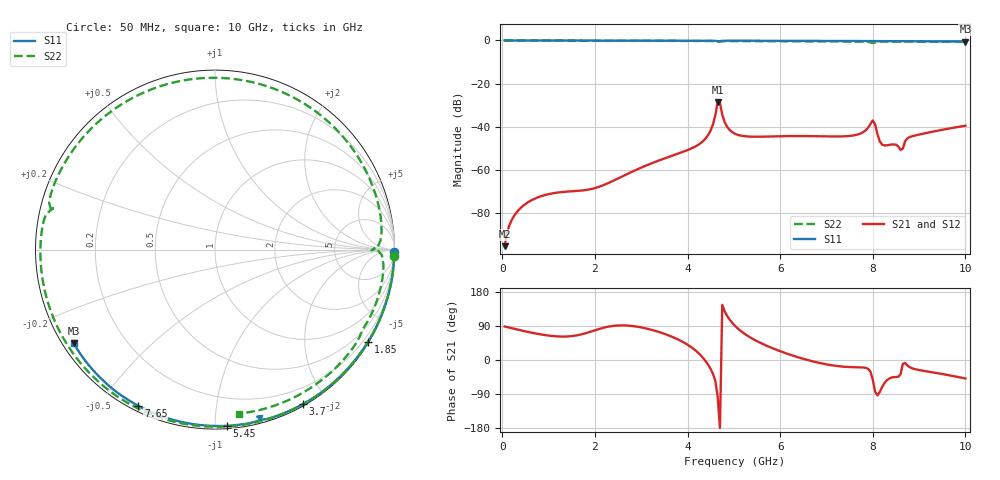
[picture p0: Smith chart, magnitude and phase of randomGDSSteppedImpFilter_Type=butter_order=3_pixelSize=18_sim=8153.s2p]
! freq	dB(S11)	phase(S11)	dB(S12)	phase(S12)
!  dB(S21)	phase(S21)	dB(S22)	phase(S22)
!S-par simulation data
#  GHz  S  DB  R 50
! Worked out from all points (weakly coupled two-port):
!   200 points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, 50 MHz to 10 GHz, reference 50 ohm
!   highest |S21| = -28.42 dB at 4.65 GHz (marker M1); lowest = -95.2 dB at 50 MHz (marker M2)
!   lowest |S11| = -0.5 dB at 10 GHz (marker M3), VSWR 35.16, Z = 1.55 - j15 ohm
!   |S11| at or under -10 dB: nowhere
!   |S22| runs from -1.2 to 0.0 dB; largest |S21 - S12| = 0
!   S11 on the Smith chart (normalised r, x): 50 MHz: open; 1.85 GHz: 0.03, -3.60; 3.7 GHz: 0.02, -1.72; 5.45 GHz: 0.02, -1.07; 7.65 GHz: 0.02, -0.62; 10 GHz: 0.03, -0.30
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0.05  -0.00 -0.9  -95.17 88.4  -95.17 88.4  -0.01 -2.2
0.9  -0.02 -15.3  -71.64 66.1  -71.64 66.1  -0.05 -38.9
1.75  -0.04 -29.4  -69.35 68.9  -69.35 68.9  -0.09 -74.5
1.85  -0.04 -31.0  -69.04 72.4  -69.04 72.4  -0.10 -78.6
2.6  -0.06 -43.2  -62.79 91.4  -62.79 91.4  -0.13 -108.8
3.4  -0.07 -55.8  -55.39 73.3  -55.39 73.3  -0.18 -140.7
3.7  -0.08 -60.5  -53.08 59.5  -53.08 59.5  -0.19 -152.8
4.4  -0.11 -71.2  -45.08 -4.6  -45.08 -4.6  -0.24 177.8
4.55  -0.13 -73.8  -38.80 -36.7  -38.80 -36.7  -0.28 170.9
4.65  -0.36 -75.8  -28.42 -96.1  -28.42 -96.1  -0.62 165.6
4.85  -0.13 -77.1  -39.76 117.5  -39.76 117.5  -0.29 159.2
5.05  -0.13 -80.3  -43.39 87.2  -43.39 87.2  -0.29 149.8
5.45  -0.14 -86.1  -44.55 52.9  -44.55 52.9  -0.32 130.9
6.1  -0.17 -95.2  -44.28 18.8  -44.28 18.8  -0.37 98.4
6.7  -0.20 -103.5  -44.27 -3.5  -44.27 -3.5  -0.41 66.9
7.65  -0.27 -116.1  -43.65 -19.1  -43.65 -19.1  -0.49 16.6
8  -0.30 -120.7  -36.99 -51.8  -36.99 -51.8  -1.19 -0.3
8.15  -0.30 -122.6  -46.64 -84.7  -46.64 -84.7  -0.52 -5.1
8.35  -0.32 -125.2  -48.33 -49.4  -48.33 -49.4  -0.48 -15.6
8.6  -0.34 -128.5  -50.68 -37.4  -50.68 -37.4  -0.57 -27.1
8.8  -0.36 -131.0  -44.67 -19.0  -44.67 -19.0  -0.50 -35.6
10  -0.49 -146.5  -39.46 -48.8  -39.46 -48.8  -0.69 -81.6
